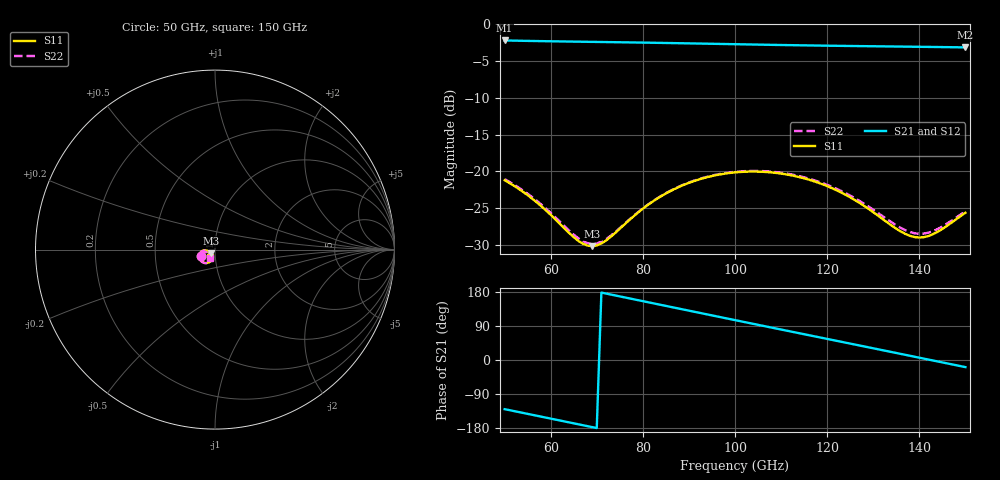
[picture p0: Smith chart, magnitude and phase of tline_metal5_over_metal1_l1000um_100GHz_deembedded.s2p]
! Created with skrf 2.2.0 (http://scikit-rf.org).
# GHz S DB R 50.0
! Port[1] = P1
! Port[2] = P2
!freq dBS11 angS11 dBS21 angS21 dBS12 angS12 dBS22 angS22
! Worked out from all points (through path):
!   101 points, 50 GHz to 150 GHz, reference 50 ohm
!   highest |S21| = -2.18 dB at 50 GHz (marker M1); lowest = -3.1 dB at 150 GHz (marker M2)
!   group delay of S21, straight-line fit = 6.92 ps
!   lowest |S11| = -30.2 dB at 69 GHz (marker M3), VSWR 1.06, Z = 47.8 - j2.07 ohm
!   |S11| at or under -10 dB: start of sweep to end of sweep
!   |S22| runs from -29.9 to -19.9 dB; largest |S21 - S12| = 8.9e-14
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50  -21.20 -155.0  -2.18 -129.7  -2.18 -129.7  -21.05 -154.5
55  -23.23 -162.8  -2.24 -142.2  -2.24 -142.2  -23.04 -162.3
59  -25.32 -165.4  -2.28 -152.1  -2.28 -152.1  -25.07 -164.9
65  -28.95 -155.8  -2.34 -167.1  -2.34 -167.1  -28.61 -155.9
67  -29.85 -146.8  -2.35 -172.1  -2.35 -172.1  -29.50 -147.4
69  -30.17 -135.7  -2.37 -177.1  -2.37 -177.1  -29.87 -136.8
72  -29.41 -120.2  -2.40 175.4  -2.40 175.4  -29.23 -121.6
76  -27.22 -109.2  -2.43 165.3  -2.43 165.3  -27.15 -110.2
80  -25.08 -107.4  -2.47 155.3  -2.47 155.3  -25.03 -107.9
84  -23.36 -110.3  -2.51 145.2  -2.51 145.2  -23.32 -110.4
92  -21.13 -122.0  -2.60 125.2  -2.60 125.2  -21.08 -121.7
100  -20.14 -136.6  -2.69 105.2  -2.69 105.2  -20.06 -135.9
104  -20.02 -144.0  -2.73 95.3  -2.73 95.3  -19.93 -143.2
108  -20.14 -151.4  -2.78 85.4  -2.78 85.4  -20.04 -150.4
112  -20.51 -158.4  -2.82 75.5  -2.82 75.5  -20.38 -157.3
117  -21.31 -166.4  -2.86 63.1  -2.86 63.1  -21.16 -165.1
126  -23.90 -176.1  -2.94 40.8  -2.94 40.8  -23.64 -174.4
134  -27.37 -170.9  -3.00 21.0  -3.00 21.0  -26.93 -169.5
138  -28.78 -158.4  -3.03 11.1  -3.03 11.1  -28.25 -157.9
141  -28.95 -145.7  -3.05 3.6  -3.05 3.6  -28.46 -146.1
144  -28.21 -134.3  -3.07 -3.9  -3.07 -3.9  -27.84 -135.3
150  -25.62 -123.6  -3.12 -18.8  -3.12 -18.8  -25.44 -124.4
